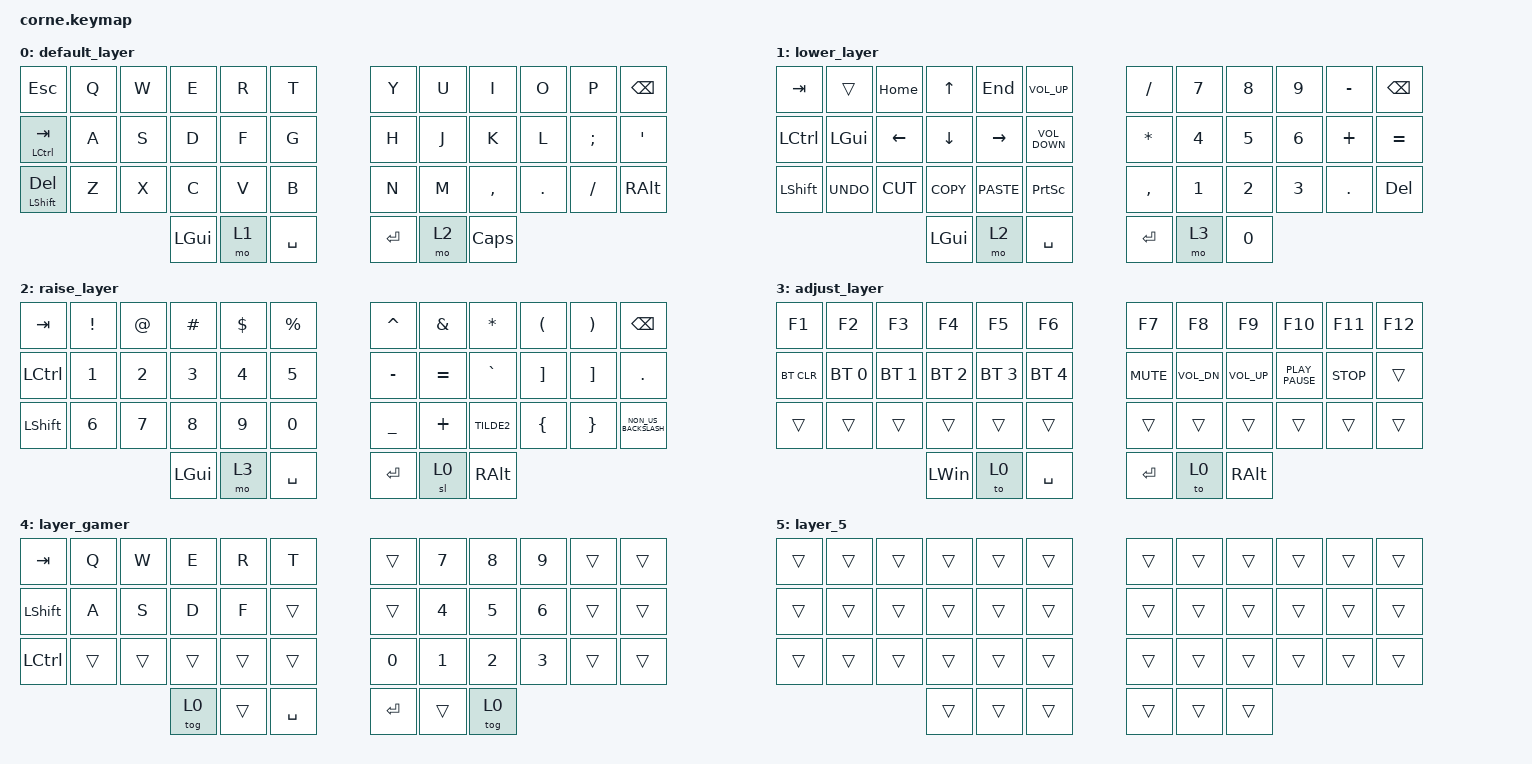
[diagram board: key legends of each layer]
/*
 * Copyright (c) 2020 The ZMK Contributors
 *
 * SPDX-License-Identifier: MIT
 * To use home rows - &hm LSHFT F
 */

#include <behaviors.dtsi>
#include <dt-bindings/zmk/bt.h>
#include <dt-bindings/zmk/keys.h>

#define QWERTY 0
#define NUMB 1
#define NAVI 2
#define ADJUST 3

/ {
    behaviors {
        hm: homerow_mods {
            compatible = "zmk,behavior-hold-tap";
            label = "HOMEROW_MODS";
            #binding-cells = <2>;
            tapping-term-ms = <150>;
            quick_tap_ms = <0>;
            flavor = "tap-preferred";
            bindings = <&kp>, <&kp>;
        };
    };

    combos {
        compatible = "zmk,combos";

        ajust_layer_combo {
            bindings = <&mo 3>;
            key-positions = <39 38>;
            layers = <0>;
            timeout-ms = <0>;
            require-prior-idle-ms = <0>;
        };

        layer_gamer {
            bindings = <&tog 4>;
            key-positions = <0 11>;
        };

        next_bluetooth {
            bindings = <&bt BT_NXT>;
            key-positions = <41 36>;
        };

        prev_bluetooth {
            bindings = <&bt BT_PRV>;
            key-positions = <37 40>;
        };
    };

    keymap {
        compatible = "zmk,keymap";

        default_layer {
            // .--------------------------------------------------------------.       .-----------------------------------------------------------.
            // |   ESC        |    Q    |    W   |   E    |    R    |    T    |       |   Y   |    U    |    I    |    O    |     P    |    \     |
            // |--------------+---------+--------+--------+---------+---------|       |-------+---------+---------+---------+----------+----------|
            // |   CTRL/Tab   |    A    |    S   |   D    |    F    |    G    |       |   H   |    J    |    K    |    L    |     ;    |     '    |
            // |--------------+---------+--------+--------+---------+---------|       |-------+---------+---------+---------+----------+----------|
            // |   SHFT       |    Z    |    X   |   C    |    V    |    B    |       |   N   |    M    |    ,    |    .    |     /    | ` | ALT  |
            // '---------------------------------+--------+---------+---------+       |-------+---------+---------+-------------------------------'
            //                                   |  GUI   |   MO1   |   ENT   |       |  SPC  |   BKSP  |  CAPS   |
            //                                   '--------+---------+---------'       '-------+---------+---------'

            bindings = <
&kp ESC             &kp Q  &kp W  &kp E     &kp R  &kp T        &kp Y      &kp U  &kp I         &kp O    &kp P      &kp BACKSPACE
&mt LCTRL TAB       &kp A  &kp S  &kp D     &kp F  &kp G        &kp H      &kp J  &kp K         &kp L    &kp SEMI   &kp SQT
&mt LEFT_SHIFT DEL  &kp Z  &kp X  &kp C     &kp V  &kp B        &kp N      &kp M  &kp COMMA     &kp DOT  &kp SLASH  &kp RIGHT_ALT
                                  &kp LGUI  &mo 1  &kp SPACE    &kp ENTER  &mo 2  &kp CAPSLOCK
            >;
        };

        lower_layer {
            // .--------------------------------------------------------------.       .-----------------------------------------------------------.
            // |   ESC        |    1    |    2   |   3    |    4    |    5    |       |   6   |    7    |    8    |    9    |     0    |    `     |
            // |--------------+---------+--------+--------+---------+---------|       |-------+---------+---------+---------+----------+----------|
            // |              |    !    |    @   |   #    |    $    |    %    |       |   ^   |    &    |    *    |    (    |     )    |     :    |
            // |--------------+---------+--------+--------+---------+---------|       |-------+---------+---------+---------+----------+----------|
            // |   SHFT       |         |    +   |   -    |    {    |    [    |       |   ]   |    }    |    =    |    _    |          |          |
            // '---------------------------------+--------+---------+---------+       |-------+---------+---------+-------------------------------'
            //                                   |  GUI   |         |   MO3   |       |   ,   |    .    |   ?     |
            //                                   '--------+---------+---------'       '-------+---------+---------'

            bindings = <
&kp TAB           &trans      &kp HOME        &kp UP_ARROW    &kp END          &kp C_VOLUME_UP      &kp SLASH     &kp N7        &kp N8        &kp N9        &kp MINUS  &kp BACKSPACE
&kp LEFT_CONTROL  &kp LGUI    &kp LEFT_ARROW  &kp DOWN_ARROW  &kp RIGHT_ARROW  &kp C_VOLUME_DOWN    &kp ASTERISK  &kp NUMBER_4  &kp NUMBER_5  &kp NUMBER_6  &kp PLUS   &kp EQUAL
&kp LSHFT         &kp K_UNDO  &kp K_CUT       &kp K_COPY      &kp K_PASTE      &kp PRINTSCREEN      &kp COMMA     &kp NUMBER_1  &kp NUMBER_2  &kp NUMBER_3  &kp DOT    &kp DEL
                                              &kp LGUI        &mo 2            &kp SPACE            &kp ENTER     &mo 3         &kp NUMBER_0
            >;
        };

        raise_layer {
            // .----------------------------------------------------------------.       .-----------------------------------------------------------------.
            // |   CMD+SHIFT+4  |       |   PU   |   UP   |    PD    |   HOME   |       |  HOME   |    PU    |    UP   |   PD    |          | CMD+SHIFT+4 |
            // |----------------+-------+--------+--------+----------+----------|       |---------+----------+---------+---------+----------+-------------|
            // |                |       |  LEFT  |  DOWN  |   RIGHT  |   END    |       |  END    |   LEFT   |   DOWN  |  RIGHT  |          |             |
            // |----------------+-------+--------+--------+----------+----------|       |---------+----------+---------+---------+----------+-------------|
            // |     OUT_TOG    |       |        |        |CTRL+LEFT |CTRL+RIGHT|       |CTRL+LEFT|CTRL+RIGHT|         |         |          |   OUT_TOG   |
            // '---------------------------------+--------+----------+----------+       |---------+----------+---------+----------------------------------'
            //                                   |  GUI   |   MO3    |          |       |         |          |         |
            //                                   '--------+----------+----------'       '---------+----------+---------'

            bindings = <
&kp TAB         &kp EXCLAMATION  &kp AT_SIGN   &kp POUND     &kp DOLLAR    &kp PERCENT     &kp CARET       &kp AMPERSAND  &kp ASTERISK   &kp LEFT_PARENTHESIS  &kp RIGHT_PARENTHESIS  &kp BACKSPACE
&kp LCTRL       &kp NUMBER_1     &kp NUMBER_2  &kp NUMBER_3  &kp NUMBER_4  &kp NUMBER_5    &kp MINUS       &kp EQUAL      &kp GRAVE      &kp RIGHT_BRACKET     &kp RIGHT_BRACKET      &kp DOT
&kp LEFT_SHIFT  &kp NUMBER_6     &kp NUMBER_7  &kp NUMBER_8  &kp NUMBER_9  &kp NUMBER_0    &kp UNDERSCORE  &kp PLUS       &kp TILDE2     &kp LEFT_BRACE        &kp RIGHT_BRACE        &kp NON_US_BACKSLASH
                                               &kp LGUI      &mo 3         &kp SPACE       &kp ENTER       &sl 0          &kp RIGHT_ALT
            >;
        };

        adjust_layer {
            // .--------------------------------------------------------.       .--------------------------------------------------------------.
            // |         |        |        |        |         |         |       |  VOL+  |        |         |         |          |             |
            // |---------+--------+--------+--------+---------+---------|       |--------+--------+---------+---------+----------+-------------|
            // |  BTCLR  |  BT1   |  BT2   |  BT3   |  BT4    |  BT5    |       |  VOL-  |        |         |         |          |             |
            // |---------+--------+--------+--------+---------+---------|       |--------+--------+---------+---------+----------+-------------|
            // |         |        |        |        |         |         |       |        |        |         |         |          |             |
            // '---------------------------+--------+---------+---------+       |--------+--------+---------+----------------------------------'
            //                             |        |         |         |       |        |        |         |
            //                             '--------+---------+---------'       '--------+--------+---------'

            bindings = <
&kp F1      &kp F2        &kp F3        &kp F4        &kp F5        &kp F6          &kp F7      &kp F8        &kp F9           &kp F10           &kp F11     &kp F12
&bt BT_CLR  &bt BT_SEL 0  &bt BT_SEL 1  &bt BT_SEL 2  &bt BT_SEL 3  &bt BT_SEL 4    &kp K_MUTE  &kp C_VOL_DN  &kp C_VOLUME_UP  &kp K_PLAY_PAUSE  &kp K_STOP  &trans
&trans      &trans        &trans        &trans        &trans        &trans          &trans      &trans        &trans           &trans            &trans      &trans
                                        &kp LWIN      &to 0         &kp SPACE       &kp ENTER   &to 0         &kp RIGHT_ALT
            >;
        };

        layer_gamer {
            bindings = <
&kp TAB    &kp Q   &kp W   &kp E   &kp R   &kp T        &trans     &kp N7  &kp N8  &kp N9  &trans  &trans
&kp LSHFT  &kp A   &kp S   &kp D   &kp F   &trans       &trans     &kp N4  &kp N5  &kp N6  &trans  &trans
&kp LCTRL  &trans  &trans  &trans  &trans  &trans       &kp N0     &kp N1  &kp N2  &kp N3  &trans  &trans
                           &tog 0  &trans  &kp SPACE    &kp ENTER  &trans  &tog 0
            >;
        };

        layer_5 {
            bindings = <
&trans  &trans  &trans  &trans  &trans  &trans    &trans  &trans  &trans  &trans  &trans  &trans
&trans  &trans  &trans  &trans  &trans  &trans    &trans  &trans  &trans  &trans  &trans  &trans
&trans  &trans  &trans  &trans  &trans  &trans    &trans  &trans  &trans  &trans  &trans  &trans
                        &trans  &trans  &trans    &trans  &trans  &trans
            >;
        };
    };
};
